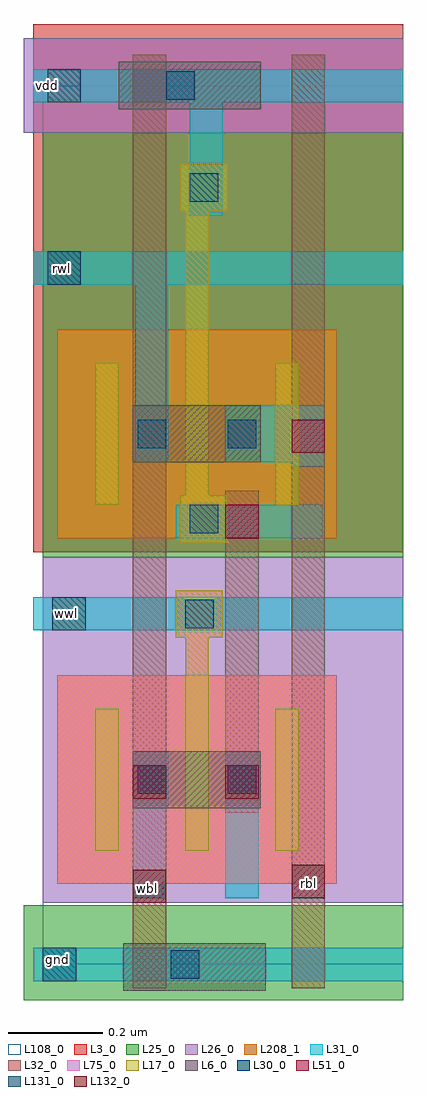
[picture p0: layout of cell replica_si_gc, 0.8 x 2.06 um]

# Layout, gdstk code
from math import pi, radians
import gdstk
lib = gdstk.Library(unit=1e-6, precision=1e-09)
def R(c, l, rs):  # rectangles x0, y0, x1, y1
    for r in rs: c.add(gdstk.rectangle(r[:2], r[2:], *l))
L3_0 = (3, 0)
L6_0 = (6, 0)
L17_0 = (17, 0)
L25_0 = (25, 0)
L26_0 = (26, 0)
L30_0 = (30, 0)
L31_0 = (31, 0)
L32_0 = (32, 0)
L51_0 = (51, 0)
L75_0 = (75, 0)
L108_0 = (108, 0)
L131_0 = (131, 0)
L132_0 = (132, 0)
L208_1 = (208, 1)

pch_mac_cdns_72963973596 = lib.new_cell('pch_mac_CDNS_729639735960')
R(pch_mac_cdns_72963973596, L3_0, [(-0.27,-0.16,0.32,0.28)])
R(pch_mac_cdns_72963973596, L6_0, [(-0.11,0,0,0.12), (0,0,0.05,0.12), (0.05,0,0.16,0.12)])
R(pch_mac_cdns_72963973596, L17_0, [(-0.19,-0.09,-0.14,0.21), (0,-0.09,0.05,0), (0.19,-0.09,0.24,0.21), (0,0,0.05,0.12), (0,0.12,0.05,0.21)])
R(pch_mac_cdns_72963973596, L25_0, [(-0.3,-0.2,-0.24,0.32), (-0.24,-0.2,0.29,0.32), (0.29,-0.2,0.35,0.32)])
R(pch_mac_cdns_72963973596, L30_0, [(-0.1,0.03,-0.04,0.09), (0.09,0.03,0.15,0.09)])
R(pch_mac_cdns_72963973596, L31_0, [(-0.105,0,-0.035,0.12), (0.085,0,0.155,0.12)])
R(pch_mac_cdns_72963973596, L208_1, [(-0.27,-0.16,0.32,0.28)])
pch_mac_cdns_72963973596.add(gdstk.Label('& SerialNumber 000000', (0,0), layer=63, texttype=63))
pch_mac_cdns_72963973596.add(gdstk.Label('& Distributor TSMC', (0,0), layer=63, texttype=63))
pch_mac_cdns_72963973596.add(gdstk.Label('& Metric 1', (0,0), layer=63, texttype=63))
pch_mac_cdns_72963973596.add(gdstk.Label('& PDK Version "tsmcN40_CRN40ULP_v1.5_2b_20200409"', (0,0), layer=63, texttype=63))
pch_mac_cdns_72963973596.add(gdstk.Label('& PDK TechNode "CRN40ULP"', (0,0), layer=63, texttype=63))
pch_mac_cdns_72963973596.add(gdstk.Label('& Product    tsmcN40_PDK', (0,0), layer=63, texttype=63))
pch_mac_cdns_72963973596.add(gdstk.Label('& Vendor     Taiwan Semiconductor manufacturing Corp.', (0,0), layer=63, texttype=63))
pch_mac_cdns_72963973596.add(gdstk.Label('[@instanceName]', (0.025,0.06), layer=127, texttype=0))
pch_mac_cdns_72963973596.add(gdstk.Label('0.12/0.05', (0,0), layer=127, texttype=0))
pch_mac_cdns_72963973596.add(gdstk.Label('pch_mac', (0,0.045), layer=127, texttype=0))
pch_mac_cdns_72963973596.add(gdstk.Label('D', (0.12,0.06), layer=127, texttype=0))
pch_mac_cdns_72963973596.add(gdstk.Label('S', (-0.07,0.06), layer=127, texttype=0))

nch_mac_cdns_72963973596 = lib.new_cell('nch_mac_CDNS_729639735961')
R(nch_mac_cdns_72963973596, L6_0, [(-0.11,0,0,0.12), (0,0,0.05,0.12), (0.05,0,0.16,0.12)])
R(nch_mac_cdns_72963973596, L17_0, [(-0.19,-0.09,-0.14,0.21), (0,-0.09,0.05,0), (0.19,-0.09,0.24,0.21), (0,0,0.05,0.12), (0,0.12,0.05,0.21)])
R(nch_mac_cdns_72963973596, L26_0, [(-0.3,-0.2,-0.24,0.32), (-0.24,-0.2,0.29,0.32), (0.29,-0.2,0.35,0.32)])
R(nch_mac_cdns_72963973596, L30_0, [(-0.1,0.03,-0.04,0.09), (0.09,0.03,0.15,0.09)])
R(nch_mac_cdns_72963973596, L31_0, [(-0.105,0,-0.035,0.12), (0.085,0,0.155,0.12)])
R(nch_mac_cdns_72963973596, L75_0, [(-0.27,-0.16,0.32,0.28)])
R(nch_mac_cdns_72963973596, L208_1, [(-0.27,-0.16,0.32,0.28)])
nch_mac_cdns_72963973596.add(gdstk.Label('& SerialNumber 000000', (0,0), layer=63, texttype=63))
nch_mac_cdns_72963973596.add(gdstk.Label('& Distributor TSMC', (0,0), layer=63, texttype=63))
nch_mac_cdns_72963973596.add(gdstk.Label('& Metric 1', (0,0), layer=63, texttype=63))
nch_mac_cdns_72963973596.add(gdstk.Label('& PDK Version "tsmcN40_CRN40ULP_v1.5_2b_20200409"', (0,0), layer=63, texttype=63))
nch_mac_cdns_72963973596.add(gdstk.Label('& PDK TechNode "CRN40ULP"', (0,0), layer=63, texttype=63))
nch_mac_cdns_72963973596.add(gdstk.Label('& Product    tsmcN40_PDK', (0,0), layer=63, texttype=63))
nch_mac_cdns_72963973596.add(gdstk.Label('& Vendor     Taiwan Semiconductor manufacturing Corp.', (0,0), layer=63, texttype=63))
nch_mac_cdns_72963973596.add(gdstk.Label('[@instanceName]', (0.025,0.06), layer=127, texttype=0))
nch_mac_cdns_72963973596.add(gdstk.Label('0.12/0.05', (0,0), layer=127, texttype=0))
nch_mac_cdns_72963973596.add(gdstk.Label('nch_mac', (0,0.045), layer=127, texttype=0))
nch_mac_cdns_72963973596.add(gdstk.Label('D', (0.12,0.06), layer=127, texttype=0))
nch_mac_cdns_72963973596.add(gdstk.Label('S', (-0.07,0.06), layer=127, texttype=0))

replica_si_gc = lib.new_cell('replica_si_gc')
R(replica_si_gc, L3_0, [(-0.02,0.87,0.67,1.985), (0.67,0.87,0.76,1.985)])
R(replica_si_gc, L6_0, [(0.17,-0.055,0.47,0.045), (0.16,1.805,0.46,1.905)])
R(replica_si_gc, L17_0, [(0.28,0.69,0.38,0.79), (0.29,0.89,0.39,0.99), (0.29,1.59,0.39,1.69)])
R(replica_si_gc, L25_0, [(-0.04,-0.075,0.69,0.125), (0.69,-0.075,0.76,0.125), (0.65,0.86,0.76,1.755), (0,1.38,0.65,1.56), (0,1.56,0.65,1.755)])
R(replica_si_gc, L26_0, [(0.65,0.13,0.76,0.86), (0,0.65,0.65,0.86), (-0.04,1.755,0.69,1.955), (0.69,1.755,0.76,1.955)])
R(replica_si_gc, L30_0, [(0.27,-0.03,0.33,0.03), (0.3,0.71,0.36,0.77), (0.31,0.91,0.37,0.97), (0.31,1.61,0.37,1.67), (0.26,1.825,0.32,1.885)])
R(replica_si_gc, L31_0, [(-0.02,-0.035,0.76,0.035), (0.19,0.14,0.26,0.45), (0.385,0.14,0.455,0.45), (-0.02,0.705,0.76,0.775), (0.28,0.9,0.59,0.97), (0.28,0.91,0.4,0.97), (0.525,1.05,0.595,1.06), (-0.02,1.435,0.76,1.505), (0.31,1.58,0.38,1.88), (-0.02,1.82,0.76,1.89)])
R(replica_si_gc, L32_0, [(0.19,-0.05,0.26,1.65), (0.525,-0.05,0.595,1.65), (0.385,0.32,0.455,0.82)])
R(replica_si_gc, L51_0, [(0.19,0.35,0.26,0.42), (0.385,0.35,0.455,0.42), (0.385,0.9,0.455,0.97), (0.525,1.08,0.595,1.15)])
R(replica_si_gc, L108_0, [(0,0,0.76,1.855)])
R(replica_si_gc, L131_0, [(0,-0.035,0.07,0.035), (0.02,0.705,0.09,0.775), (0.01,1.435,0.08,1.505), (0.01,1.82,0.08,1.89)])
R(replica_si_gc, L132_0, [(0.19,0.13,0.26,0.2), (0.525,0.14,0.595,0.21)])
replica_si_gc.add(gdstk.FlexPath([(0.325,1.45),(0.325,1.59)], 0.05, ends="flush", simple_path=True, layer=17, datatype=0))  # L17_0
replica_si_gc.add(gdstk.FlexPath([(0.325,1.27),(0.325,1.45)], 0.05, ends="flush", simple_path=True, layer=17, datatype=0))  # L17_0
replica_si_gc.add(gdstk.FlexPath([(0.325,0.54),(0.325,0.69)], 0.05, ends="flush", simple_path=True, layer=17, datatype=0))  # L17_0
replica_si_gc.add(gdstk.FlexPath([(0.455,1.12),(0.595,1.12)], 0.12, ends="flush", simple_path=True, layer=31, datatype=0))  # L31_0
replica_si_gc.add(gdstk.FlexPath([(0.23,1.18),(0.23,1.505)], 0.07, ends="flush", simple_path=True, layer=31, datatype=0))  # L31_0
replica_si_gc.add(gdstk.FlexPath([(0.56,1.65),(0.56,1.92)], 0.07, ends="flush", simple_path=True, layer=32, datatype=0))  # L32_0
replica_si_gc.add(gdstk.FlexPath([(0.225,1.65),(0.225,1.92)], 0.07, ends="flush", simple_path=True, layer=32, datatype=0))  # L32_0
replica_si_gc.add(gdstk.FlexPath([(0.42,0.82),(0.42,1)], 0.07, ends="flush", simple_path=True, layer=32, datatype=0))  # L32_0
replica_si_gc.add(gdstk.Reference(pch_mac_cdns_72963973596, (0.35,1.06), rotation=pi, x_reflection=True))
replica_si_gc.add(gdstk.Reference(nch_mac_cdns_72963973596, (0.3,0.33)))
replica_si_gc.add(gdstk.Label('rbl', (0.56,0.17), layer=132, texttype=0))
replica_si_gc.add(gdstk.Label('wbl', (0.22,0.16), layer=132, texttype=0))
replica_si_gc.add(gdstk.Label('gnd', (0.03,0.01), layer=131, texttype=0))
replica_si_gc.add(gdstk.Label('rwl', (0.04,1.47), layer=131, texttype=0))
replica_si_gc.add(gdstk.Label('vdd', (0.01,1.855), layer=131, texttype=0))
replica_si_gc.add(gdstk.Label('wwl', (0.05,0.74), layer=131, texttype=0))

lib.write_gds('replica_si_gc.gds')
